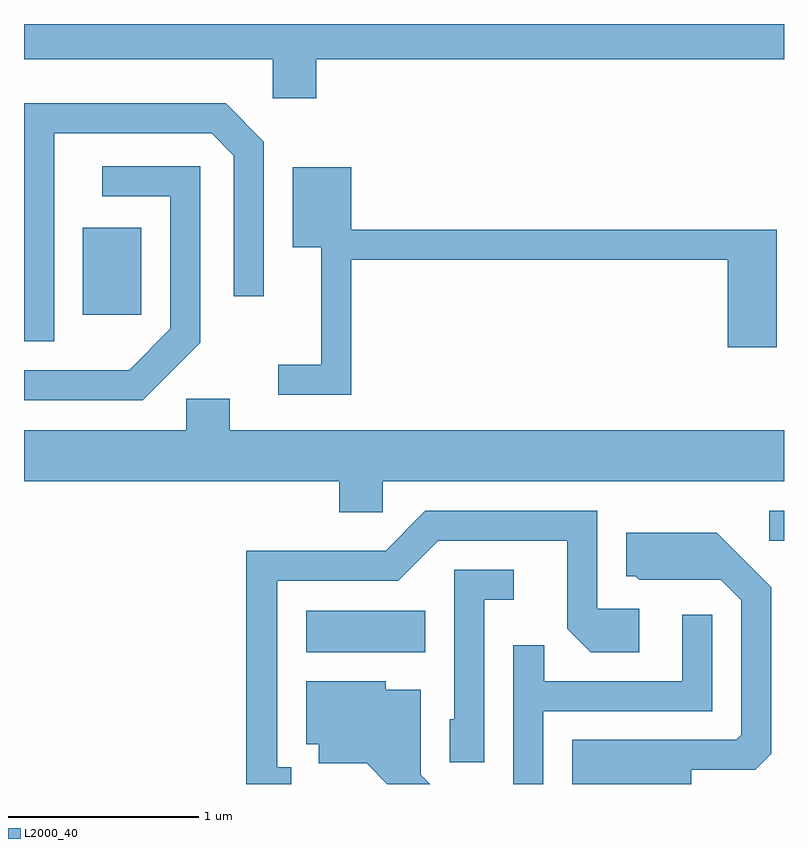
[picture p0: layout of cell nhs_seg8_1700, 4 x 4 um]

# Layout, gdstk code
import gdstk
lib = gdstk.Library(unit=1e-6, precision=1e-09)
def R(c, l, rs):  # rectangles x0, y0, x1, y1
    for r in rs: c.add(gdstk.rectangle(r[:2], r[2:], *l))
def P(c, l, *ps):  # polygons
    for p in ps: c.add(gdstk.Polygon(p, *l))
L2000_40 = (2000, 40)

nhs_seg8_1700 = lib.new_cell('nhs_seg8_1700')
R(nhs_seg8_1700, L2000_40, [(237.096,1871.036,237.724,1871.254), (239.533,1871.621,239.611,1871.779), (235.921,1872.811,236.229,1873.269)])
P(nhs_seg8_1700, L2000_40, [(237.149,1874.156),(239.611,1874.156),(239.611,1874.342),(235.611,1874.342),(235.611,1874.156),(236.921,1874.156),(236.921,1873.951),(237.149,1873.951)],
  [(235.769,1873.766),(236.599,1873.766),(236.716,1873.649),(236.716,1872.908),(236.874,1872.908),(236.874,1873.722),(236.672,1873.924),(235.611,1873.924),(235.611,1872.671),(235.769,1872.671)],
  [(236.539,1872.664),(236.539,1873.594),(236.023,1873.594),(236.023,1873.436),(236.381,1873.436),(236.381,1872.737),(236.164,1872.519),(235.611,1872.519),(235.611,1872.361),(236.237,1872.361)],
  [(237.334,1873.101),(239.316,1873.101),(239.316,1872.641),(239.574,1872.641),(239.574,1873.259),(237.334,1873.259),(237.334,1873.589),(237.026,1873.589),(237.026,1873.166),(237.176,1873.166),(237.176,1872.549),(236.948,1872.549),(236.948,1872.391),(237.334,1872.391)],
  [(237.499,1871.936),(239.611,1871.936),(239.611,1872.204),(236.694,1872.204),(236.694,1872.369),(236.466,1872.369),(236.466,1872.204),(235.611,1872.204),(235.611,1871.936),(237.271,1871.936),(237.271,1871.771),(237.499,1871.771)],
  [(237.018,1870.429),(236.944,1870.429),(236.944,1871.411),(237.582,1871.411),(237.792,1871.621),(238.471,1871.621),(238.471,1871.159),(238.594,1871.036),(238.849,1871.036),(238.849,1871.264),(238.629,1871.264),(238.629,1871.779),(237.724,1871.779),(237.514,1871.569),(236.781,1871.569),(236.781,1870.342),(237.018,1870.342)],
  [(239.124,1870.416),(239.459,1870.416),(239.544,1870.502),(239.544,1871.377),(239.257,1871.664),(238.781,1871.664),(238.781,1871.436),(238.829,1871.436),(238.849,1871.416),(239.279,1871.416),(239.386,1871.309),(239.386,1870.602),(239.359,1870.574),(238.496,1870.574),(238.496,1870.342),(239.124,1870.342)],
  [(238.034,1871.311),(238.188,1871.311),(238.188,1871.469),(237.876,1871.469),(237.876,1870.684),(237.851,1870.684),(237.851,1870.456),(238.034,1870.456)],
  [(238.344,1870.726),(239.234,1870.726),(239.234,1871.233),(239.076,1871.233),(239.076,1870.884),(238.349,1870.884),(238.349,1871.073),(238.186,1871.073),(238.186,1870.342),(238.344,1870.342)],
  [(237.699,1870.392),(237.699,1870.839),(237.514,1870.839),(237.514,1870.884),(237.096,1870.884),(237.096,1870.551),(237.161,1870.551),(237.161,1870.451),(237.414,1870.451),(237.523,1870.342),(237.749,1870.342)])

lib.write_gds('nhs_seg8_1700.gds')
